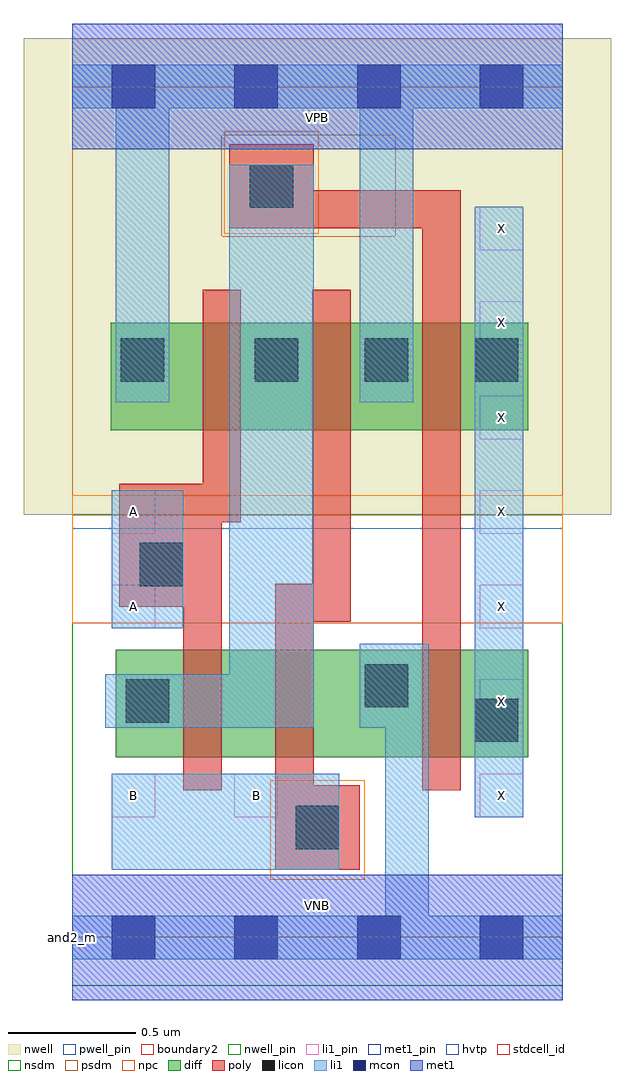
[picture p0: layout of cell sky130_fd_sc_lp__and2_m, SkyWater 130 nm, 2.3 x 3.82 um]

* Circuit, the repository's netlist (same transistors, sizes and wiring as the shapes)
* Copyright 2020 The SkyWater PDK Authors
*
* Licensed under the Apache License, Version 2.0 (the "License");
* you may not use this file except in compliance with the License.
* You may obtain a copy of the License at
*
*     https://www.apache.org/licenses/LICENSE-2.0
*
* Unless required by applicable law or agreed to in writing, software
* distributed under the License is distributed on an "AS IS" BASIS,
* WITHOUT WARRANTIES OR CONDITIONS OF ANY KIND, either express or implied.
* See the License for the specific language governing permissions and
* limitations under the License.
*
* SPDX-License-Identifier: Apache-2.0

.SUBCKT sky130_fd_sc_lp__and2_m A B VGND VNB VPB VPWR X
*.PININFO A:I B:I VGND:I VNB:I VPB:I VPWR:I X:O
MMP0 y A VPWR VPB sky130_fd_pr__pfet_01v8_hvt m=1 w=0.42U l=0.15U mult=1 sa=0.265
+ sb=0.265 sd=0.28 area=0.063 perim=1.14
MMP1 y B VPWR VPB sky130_fd_pr__pfet_01v8_hvt m=1 w=0.42U l=0.15U mult=1 sa=0.265
+ sb=0.265 sd=0.28 area=0.063 perim=1.14
MMIP0 X y VPWR VPB sky130_fd_pr__pfet_01v8_hvt m=1 w=0.42U l=0.15U mult=1 sa=0.265
+ sb=0.265 sd=0.28 area=0.063 perim=1.14
MMN0 y A sndA VNB sky130_fd_pr__nfet_01v8 m=1 w=0.42U l=0.15U mult=1 sa=0.265 sb=0.265
+ sd=0.28 area=0.063 perim=1.14
MMN1 sndA B VGND VNB sky130_fd_pr__nfet_01v8 m=1 w=0.42U l=0.15U mult=1 sa=0.265
+ sb=0.265 sd=0.28 area=0.063 perim=1.14
MMIN0 X y VGND VNB sky130_fd_pr__nfet_01v8 m=1 w=0.42U l=0.15U mult=1 sa=0.265
+ sb=0.265 sd=0.28 area=0.063 perim=1.14
.ENDS sky130_fd_sc_lp__and2_m

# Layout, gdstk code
import gdstk
lib = gdstk.Library(unit=1e-6, precision=1e-09)
def R(c, l, rs):  # rectangles x0, y0, x1, y1
    for r in rs: c.add(gdstk.rectangle(r[:2], r[2:], *l))
def A(c, l, x, y, w, h, nx, ny, dx, dy):  # array of equal rectangles
    R(c, l, [(x+i*dx, y+j*dy, x+i*dx+w, y+j*dy+h) for i in range(nx) for j in range(ny)])
def P(c, l, *ps):  # polygons
    for p in ps: c.add(gdstk.Polygon(p, *l))
nwell_pin = (64, 16)
nwell = (64, 20)
diff = (65, 20)
poly = (66, 20)
licon = (66, 44)
li1_pin = (67, 16)
li1 = (67, 20)
mcon = (67, 44)
met1_pin = (68, 16)
met1 = (68, 20)
hvtp = (78, 44)
stdcell_id = (81, 4)
nsdm = (93, 44)
psdm = (94, 20)
npc = (95, 20)
pwell_pin = (122, 16)
boundary2 = (236, 0)

sky130_fd_sc_lp__and2_m = lib.new_cell('sky130_fd_sc_lp__and2_m')
R(sky130_fd_sc_lp__and2_m, nwell_pin, [(0,3.085,1.92,3.33)])
R(sky130_fd_sc_lp__and2_m, nwell, [(-0.19,1.655,2.11,3.52)])
R(sky130_fd_sc_lp__and2_m, diff, [(0.17,0.705,1.785,1.125), (0.15,1.985,1.785,2.405)])
P(sky130_fd_sc_lp__and2_m, poly, [(0.66,2.535),(0.51,2.535),(0.51,1.775),(0.185,1.775),(0.185,1.295),(0.435,1.295),(0.435,0.575),(0.585,0.575),(0.585,1.625),(0.66,1.625)],
  [(1.125,0.595),(0.945,0.595),(0.945,1.235),(1.09,1.235),(1.09,2.535),(0.94,2.535),(0.94,1.385),(0.795,1.385),(0.795,0.265),(1.125,0.265)],
  [(1.52,2.925),(0.945,2.925),(0.945,3.105),(0.615,3.105),(0.615,2.775),(1.37,2.775),(1.37,0.575),(1.52,0.575)])
A(sky130_fd_sc_lp__and2_m, licon, 0.715, 2.175, 0.17, 0.17, 3, 1, 0.43, 0)
R(sky130_fd_sc_lp__and2_m, licon, [(0.875,0.345,1.045,0.515), (1.575,0.765,1.745,0.935), (0.21,0.84,0.38,1.01), (1.145,0.9,1.315,1.07), (0.265,1.375,0.435,1.545), (0.19,2.175,0.36,2.345), (0.695,2.855,0.865,3.025)])
A(sky130_fd_sc_lp__and2_m, li1_pin, 1.595, 0.47, 0.17, 0.17, 1, 7, 0, 0.37)
R(sky130_fd_sc_lp__and2_m, li1_pin, [(0.155,0.47,0.325,0.64), (0.635,0.47,0.805,0.64), (0.155,1.21,0.325,1.38), (0.155,1.58,0.325,1.75)])
R(sky130_fd_sc_lp__and2_m, li1, [(0.155,0.265,1.045,0.64), (1.575,0.47,1.765,2.86), (0.155,1.21,0.435,1.75)])
P(sky130_fd_sc_lp__and2_m, li1, [(1.125,2.095),(1.125,3.245),(0.38,3.245),(0.38,2.095),(0.17,2.095),(0.17,3.245),(0,3.245),(0,3.415),(1.92,3.415),(1.92,3.245),(1.335,3.245),(1.335,2.095)],
  [(1.225,0.085),(1.225,0.82),(1.125,0.82),(1.125,1.15),(1.395,1.15),(1.395,0.085),(1.92,0.085),(1.92,-0.085),(0,-0.085),(0,0.085)],
  [(0.615,1.03),(0.615,3.025),(0.945,3.025),(0.945,0.82),(0.13,0.82),(0.13,1.03)])
A(sky130_fd_sc_lp__and2_m, mcon, 0.155, -0.085, 0.17, 0.17, 4, 2, 0.48, 3.33)
R(sky130_fd_sc_lp__and2_m, met1_pin, [(0,0,1.92,0.245), (0,3.085,1.92,3.33)])
R(sky130_fd_sc_lp__and2_m, met1, [(0,-0.245,1.92,0.245), (0,3.085,1.92,3.575)])
R(sky130_fd_sc_lp__and2_m, hvtp, [(0,1.6,1.92,3.33)])
R(sky130_fd_sc_lp__and2_m, stdcell_id, [(0,0,1.92,3.33)])
R(sky130_fd_sc_lp__and2_m, nsdm, [(0,-0.19,1.92,1.655)])
P(sky130_fd_sc_lp__and2_m, psdm, [(1.92,3.52),(1.265,3.52),(1.265,2.745),(0.585,2.745),(0.585,3.14),(1.265,3.14),(1.265,3.52),(0,3.52),(0,1.655),(1.92,1.655)])
R(sky130_fd_sc_lp__and2_m, npc, [(0.775,0.225,1.145,0.615), (0,1.23,1.92,1.73), (0.595,2.755,0.965,3.155)])
R(sky130_fd_sc_lp__and2_m, pwell_pin, [(0,0,1.92,0.245)])
R(sky130_fd_sc_lp__and2_m, boundary2, [(0,0,1.92,3.33)])
sky130_fd_sc_lp__and2_m.add(gdstk.Label('VNB', (0.96,0.123), layer=64, texttype=59))
sky130_fd_sc_lp__and2_m.add(gdstk.Label('VPB', (0.96,3.208), layer=64, texttype=5))
sky130_fd_sc_lp__and2_m.add(gdstk.Label('and2_m', (0,0), layer=83, texttype=44))
sky130_fd_sc_lp__and2_m.add(gdstk.Label('VPWR', (0.96,3.208), layer=68, texttype=5))
sky130_fd_sc_lp__and2_m.add(gdstk.Label('VGND', (0.96,0.123), layer=68, texttype=5))
sky130_fd_sc_lp__and2_m.add(gdstk.Label('A', (0.24,1.295), layer=67, texttype=5))
sky130_fd_sc_lp__and2_m.add(gdstk.Label('A', (0.24,1.665), layer=67, texttype=5))
sky130_fd_sc_lp__and2_m.add(gdstk.Label('B', (0.24,0.555), layer=67, texttype=5))
sky130_fd_sc_lp__and2_m.add(gdstk.Label('B', (0.72,0.555), layer=67, texttype=5))
sky130_fd_sc_lp__and2_m.add(gdstk.Label('X', (1.68,0.555), layer=67, texttype=5))
sky130_fd_sc_lp__and2_m.add(gdstk.Label('X', (1.68,0.925), layer=67, texttype=5))
sky130_fd_sc_lp__and2_m.add(gdstk.Label('X', (1.68,1.295), layer=67, texttype=5))
sky130_fd_sc_lp__and2_m.add(gdstk.Label('X', (1.68,1.665), layer=67, texttype=5))
sky130_fd_sc_lp__and2_m.add(gdstk.Label('X', (1.68,2.035), layer=67, texttype=5))
sky130_fd_sc_lp__and2_m.add(gdstk.Label('X', (1.68,2.405), layer=67, texttype=5))
sky130_fd_sc_lp__and2_m.add(gdstk.Label('X', (1.68,2.775), layer=67, texttype=5))

lib.write_gds('sky130_fd_sc_lp__and2_m.gds')
